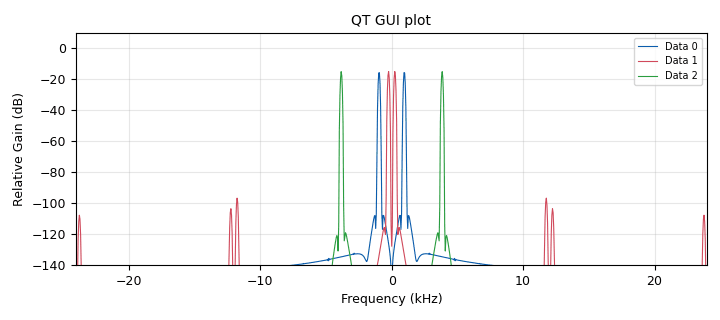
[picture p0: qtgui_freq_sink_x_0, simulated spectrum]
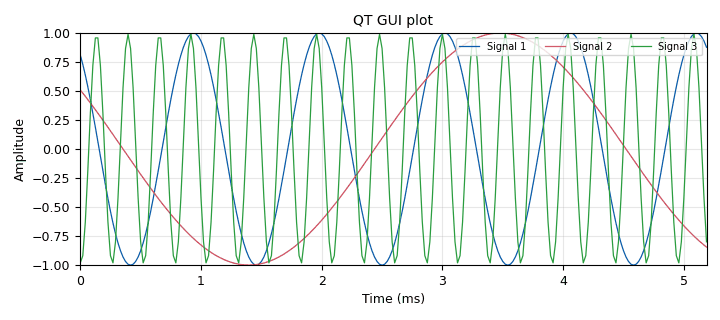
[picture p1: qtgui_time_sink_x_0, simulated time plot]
options:
  parameters:
    author: uis-e3t
    generate_options: qt_gui
    id: lab1
    output_language: python
    title: sample rate demo
  states: {}

blocks:
- name: freq
  id: variable_qtgui_range
  parameters:
    label: Frequency
    orient: Qt.Horizontal
    start: 1e3
    step: 1e3
    stop: 30e3
    value: 1E3
  states: {}
- name: samp_rate
  id: variable
  parameters:
    value: 50e3
  states: {}
- name: analog_sig_source_x_0
  id: analog_sig_source_x
  parameters:
    amp: '1'
    freq: freq
    offset: '0'
    phase: '0'
    samp_rate: samp_rate
    type: float
    waveform: analog.GR_COS_WAVE
  states: {}
- name: analog_sig_source_x_0_0
  id: analog_sig_source_x
  parameters:
    amp: '1'
    freq: freq
    offset: '0'
    phase: '0'
    samp_rate: samp_rate
    type: float
    waveform: analog.GR_COS_WAVE
  states: {state: disabled}
- name: analog_sig_source_x_0_0_0
  id: analog_sig_source_x
  parameters:
    amp: '1'
    freq: freq
    offset: '0'
    phase: '0'
    samp_rate: samp_rate
    type: float
    waveform: analog.GR_COS_WAVE
  states: {state: disabled}
- name: blocks_throttle_0
  id: blocks_throttle
  parameters:
    samples_per_second: samp_rate
    type: float
  states: {}
- name: qtgui_freq_sink_x_0
  id: qtgui_freq_sink_x
  parameters:
    bw: 48e3
    fc: '0'
    fftsize: '1024'
    name: '"QT GUI plot"'
    nconnections: '3'
    type: float
    wintype: firdes.WIN_BLACKMAN_hARRIS
  states: {}
- name: qtgui_time_sink_x_0
  id: qtgui_time_sink_x
  parameters:
    name: '"QT GUI plot"'
    nconnections: '3'
    size: '250'
    srate: 48e3
    type: float
  states: {}
- name: rational_resampler_xxx_0
  id: rational_resampler_xxx
  parameters:
    decim: '1'
    fbw: '0.1'
    interp: '4'
    taps: ''
    type: fff
  states: {}
- name: rational_resampler_xxx_1
  id: rational_resampler_xxx
  parameters:
    decim: '1'
    fbw: '0.1'
    interp: '1'
    taps: ''
    type: fff
  states: {}
- name: rational_resampler_xxx_2
  id: rational_resampler_xxx
  parameters:
    decim: '4'
    fbw: '0.1'
    interp: '1'
    taps: ''
    type: fff
  states: {}

connections:
- [analog_sig_source_x_0, '0', rational_resampler_xxx_1, '0']
- [analog_sig_source_x_0_0, '0', rational_resampler_xxx_0, '0']
- [analog_sig_source_x_0_0_0, '0', rational_resampler_xxx_2, '0']
- [blocks_throttle_0, '0', qtgui_freq_sink_x_0, '0']
- [blocks_throttle_0, '0', qtgui_time_sink_x_0, '0']
- [rational_resampler_xxx_0, '0', qtgui_freq_sink_x_0, '1']
- [rational_resampler_xxx_0, '0', qtgui_time_sink_x_0, '1']
- [rational_resampler_xxx_1, '0', blocks_throttle_0, '0']
- [rational_resampler_xxx_1, '0', rational_resampler_xxx_0, '0']
- [rational_resampler_xxx_1, '0', rational_resampler_xxx_2, '0']
- [rational_resampler_xxx_2, '0', qtgui_freq_sink_x_0, '2']
- [rational_resampler_xxx_2, '0', qtgui_time_sink_x_0, '2']

metadata:
  file_format: 1
